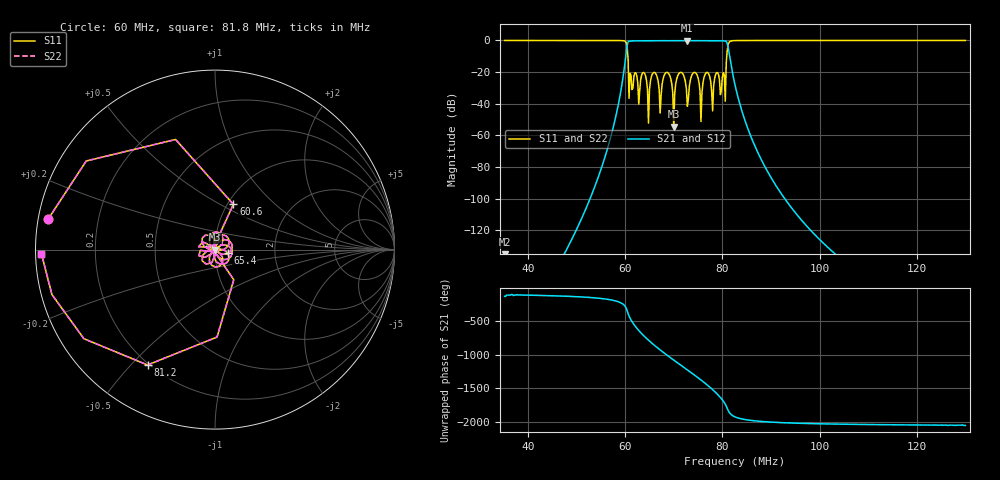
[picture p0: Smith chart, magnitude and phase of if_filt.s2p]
# MHz S RI R 50
! S-Parameters data
! Freq  reS11  imS11  reS21  imS21  reS12  imS12  reS22  imS22
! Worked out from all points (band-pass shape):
!   475 points, 35.2 MHz to 130 MHz, reference 50 ohm
!   highest |S21| = -0.14 dB at 72.8 MHz (marker M1); lowest = -197.0 dB at 35.2 MHz (marker M2)
!   |S21| within 3 dB of the highest: 60.42 MHz to 81.1 MHz (20.68 MHz wide, 29.2 % of centre)
!   lowest |S11| = -54.4 dB at 70 MHz (marker M3), VSWR 1.00, Z = 50.2 + j2.35e-05 ohm
!   |S11| at or under -10 dB: 60.57 MHz to 80.9 MHz (20.34 MHz wide, 28.8 % of centre)
!   |S22| runs from -54.4 to 0.0 dB; largest |S21 - S12| = 0
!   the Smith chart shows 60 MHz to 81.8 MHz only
!   S11 on the Smith chart (normalised r, x): 60 MHz: 0.03, +0.09; 60.6 MHz: 1.07, +0.58; 65.4 MHz: 1.15, -0.04; 81.2 MHz: 0.19, -0.56; 81.8 MHz: 0.02, -0.01
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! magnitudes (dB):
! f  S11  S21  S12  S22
! 35.2 MHz  0.0  -197.0  -197.0  0.0
! 51 MHz  0.0  -112.8  -112.8  0.0
! 55.4 MHz  0.0  -78.0  -78.0  0.0
! 60 MHz  -0.5  -13.3  -13.3  -0.5
! 60.6 MHz  -11.3  -1.0  -1.0  -11.3
! 61.2 MHz  -21.8  -0.4  -0.4  -21.8
! 65.4 MHz  -22.8  -0.2  -0.2  -22.8
! 66.8 MHz  -26.0  -0.2  -0.2  -26.0
! 68.8 MHz  -20.4  -0.2  -0.2  -20.4
! 70 MHz  -54.4  -0.1  -0.1  -54.4
! 71.4 MHz  -20.1  -0.2  -0.2  -20.1
! 72.8 MHz  -41.6  -0.1  -0.1  -41.6
! 74.2 MHz  -20.2  -0.2  -0.2  -20.2
! 75.6 MHz  -51.2  -0.1  -0.1  -51.2
! 80.2 MHz  -20.4  -0.3  -0.3  -20.4
! 81.2 MHz  -2.6  -4.4  -4.4  -2.6
! 81.8 MHz  -0.3  -15.6  -15.6  -0.3
! 82.6 MHz  -0.1  -28.1  -28.1  -0.1
! 88.8 MHz  0.0  -80.0  -80.0  0.0
! 98.4 MHz  0.0  -120.8  -120.8  0.0
! 114.2 MHz  0.0  -159.7  -159.7  0.0
! 130 MHz  0.0  -185.4  -185.4  0.0
